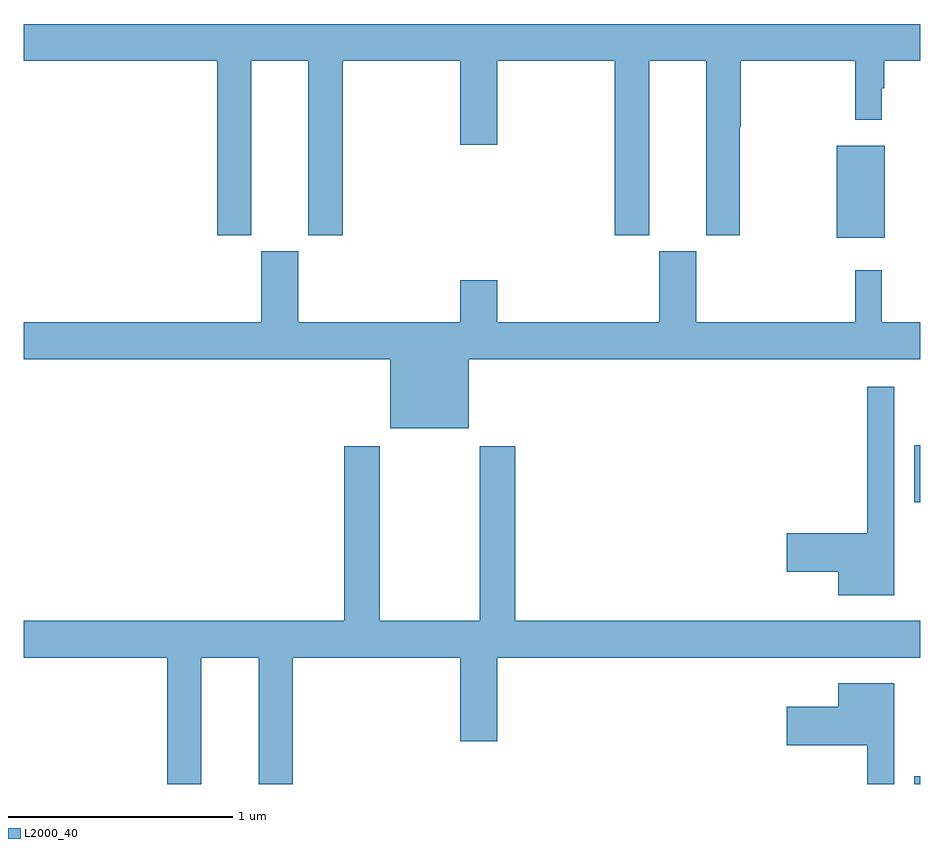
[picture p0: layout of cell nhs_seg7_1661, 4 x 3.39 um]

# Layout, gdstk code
import gdstk
lib = gdstk.Library(unit=1e-6, precision=1e-09)
def R(c, l, rs):  # rectangles x0, y0, x1, y1
    for r in rs: c.add(gdstk.rectangle(r[:2], r[2:], *l))
def P(c, l, *ps):  # polygons
    for p in ps: c.add(gdstk.Polygon(p, *l))
L2000_40 = (2000, 40)

nhs_seg7_1661 = lib.new_cell('nhs_seg7_1661')
R(nhs_seg7_1661, L2000_40, [(226.973,1052,227,1052.035), (226.973,1053.257,227,1053.511), (226.628,1054.439,226.843,1054.849)])
P(nhs_seg7_1661, L2000_40, [(224.014,1055.228),(224.27,1055.228),(224.27,1054.449),(224.423,1054.449),(224.423,1055.228),(224.948,1055.228),(224.948,1054.854),(225.112,1054.854),(225.112,1055.228),(225.638,1055.228),(225.638,1054.449),(225.79,1054.449),(225.79,1055.228),(226.046,1055.228),(226.046,1054.449),(226.194,1054.449),(226.194,1054.932),(226.199,1054.932),(226.199,1055.228),(226.711,1055.228),(226.711,1054.965),(226.828,1054.965),(226.828,1055.105),(226.84,1055.105),(226.84,1055.228),(227,1055.228),(227,1055.392),(223,1055.392),(223,1055.228),(223.862,1055.228),(223.862,1054.449),(224.014,1054.449)],
  [(224.986,1053.896),(227,1053.896),(227,1054.06),(226.829,1054.06),(226.829,1054.294),(226.711,1054.294),(226.711,1054.06),(226,1054.06),(226,1054.377),(225.836,1054.377),(225.836,1054.06),(225.112,1054.06),(225.112,1054.249),(224.948,1054.249),(224.948,1054.06),(224.224,1054.06),(224.224,1054.377),(224.06,1054.377),(224.06,1054.06),(223,1054.06),(223,1053.896),(224.636,1053.896),(224.636,1053.587),(224.986,1053.587)],
  [(226.885,1053.772),(226.764,1053.772),(226.764,1053.119),(226.404,1053.119),(226.404,1052.948),(226.634,1052.948),(226.634,1052.843),(226.885,1052.843)],
  [(223.792,1052.564),(224.048,1052.564),(224.048,1052),(224.201,1052),(224.201,1052.564),(224.948,1052.564),(224.948,1052.19),(225.112,1052.19),(225.112,1052.564),(227,1052.564),(227,1052.728),(225.194,1052.728),(225.194,1053.508),(225.034,1053.508),(225.034,1052.728),(224.589,1052.728),(224.589,1053.508),(224.429,1053.508),(224.429,1052.728),(223,1052.728),(223,1052.564),(223.64,1052.564),(223.64,1052),(223.792,1052)],
  [(226.885,1052.449),(226.634,1052.449),(226.634,1052.344),(226.404,1052.344),(226.404,1052.174),(226.764,1052.174),(226.764,1052),(226.885,1052)])

lib.write_gds('nhs_seg7_1661.gds')
